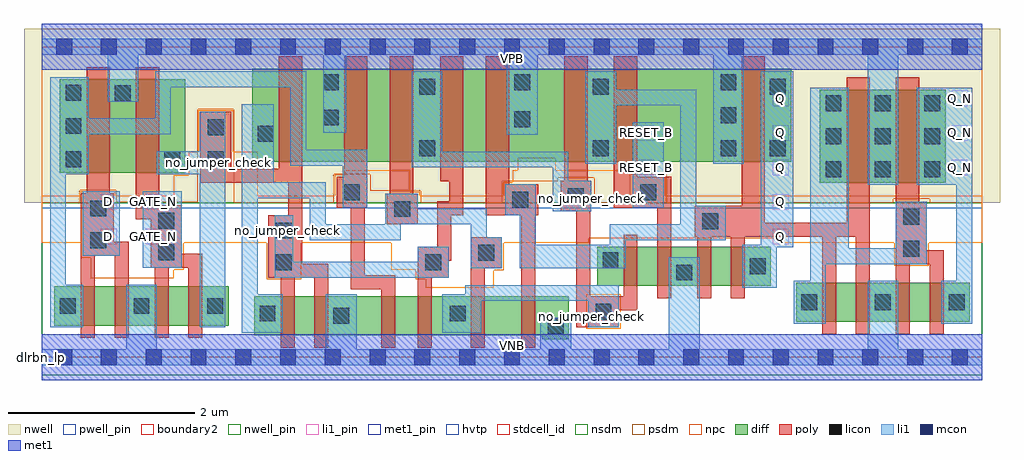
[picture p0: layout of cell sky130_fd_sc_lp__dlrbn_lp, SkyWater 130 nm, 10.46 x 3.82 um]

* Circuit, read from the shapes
.subckt sky130_fd_sc_lp__dlrbn_lp D GATE_N Q Q_N RESET_B VGND VNB VPB VPWR
XM1 n1 D n2 VNB sky130_fd_pr__nfet_01v8 w=0.42 l=0.15
XM2 VGND D n1 VNB sky130_fd_pr__nfet_01v8 w=0.42 l=0.15
XM3 n3 GATE_N VGND VNB sky130_fd_pr__nfet_01v8 w=0.42 l=0.15
XM4 n4 GATE_N n3 VNB sky130_fd_pr__nfet_01v8 w=0.42 l=0.15
XM5 n5 n4 n6 VNB sky130_fd_pr__nfet_01v8 w=0.42 l=0.15
XM6 VGND n4 n5 VNB sky130_fd_pr__nfet_01v8 w=0.42 l=0.15
XM7 n7 n2 VGND VNB sky130_fd_pr__nfet_01v8 w=0.42 l=0.15
XM8 n8 n4 n7 VNB sky130_fd_pr__nfet_01v8 w=0.42 l=0.15
XM9 n9 n6 n8 VNB sky130_fd_pr__nfet_01v8 w=0.42 l=0.15
XM10 VGND n10 n9 VNB sky130_fd_pr__nfet_01v8 w=0.42 l=0.15
XM11 n11 n8 n10 VNB sky130_fd_pr__nfet_01v8 w=0.42 l=0.15
XM12 VGND RESET_B n11 VNB sky130_fd_pr__nfet_01v8 w=0.42 l=0.15
XM13 n12 n10 VGND VNB sky130_fd_pr__nfet_01v8 w=0.42 l=0.15
XM14 Q n10 n12 VNB sky130_fd_pr__nfet_01v8 w=0.42 l=0.15
XM15 n13 n10 n14 VNB sky130_fd_pr__nfet_01v8 w=0.42 l=0.15
XM16 VGND n10 n13 VNB sky130_fd_pr__nfet_01v8 w=0.42 l=0.15
XM17 n15 n14 VGND VNB sky130_fd_pr__nfet_01v8 w=0.42 l=0.15
XM18 Q_N n14 n15 VNB sky130_fd_pr__nfet_01v8 w=0.42 l=0.15
XM19 VPWR D n2 VPB sky130_fd_pr__pfet_01v8_hvt w=1 l=0.25
XM20 n4 GATE_N VPWR VPB sky130_fd_pr__pfet_01v8_hvt w=1 l=0.25
XM21 VPWR n4 n6 VPB sky130_fd_pr__pfet_01v8_hvt w=1 l=0.25
XM22 n16 n2 VPWR VPB sky130_fd_pr__pfet_01v8_hvt w=1 l=0.25
XM23 n8 n6 n16 VPB sky130_fd_pr__pfet_01v8_hvt w=1 l=0.25
XM24 n17 n4 n8 VPB sky130_fd_pr__pfet_01v8_hvt w=1 l=0.25
XM25 VPWR n10 n17 VPB sky130_fd_pr__pfet_01v8_hvt w=1 l=0.25
XM26 n10 n8 VPWR VPB sky130_fd_pr__pfet_01v8_hvt w=1 l=0.25
XM27 VPWR RESET_B n10 VPB sky130_fd_pr__pfet_01v8_hvt w=1 l=0.25
XM28 Q n10 VPWR VPB sky130_fd_pr__pfet_01v8_hvt w=1 l=0.25
XM29 VPWR n10 n14 VPB sky130_fd_pr__pfet_01v8_hvt w=1 l=0.25
XM30 Q_N n14 VPWR VPB sky130_fd_pr__pfet_01v8_hvt w=1 l=0.25
.ends

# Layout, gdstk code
import gdstk
lib = gdstk.Library(unit=1e-6, precision=1e-09)
def R(c, l, rs):  # rectangles x0, y0, x1, y1
    for r in rs: c.add(gdstk.rectangle(r[:2], r[2:], *l))
def A(c, l, x, y, w, h, nx, ny, dx, dy):  # array of equal rectangles
    R(c, l, [(x+i*dx, y+j*dy, x+i*dx+w, y+j*dy+h) for i in range(nx) for j in range(ny)])
def P(c, l, *ps):  # polygons
    for p in ps: c.add(gdstk.Polygon(p, *l))
nwell_pin = (64, 16)
nwell = (64, 20)
diff = (65, 20)
poly = (66, 20)
licon = (66, 44)
li1_pin = (67, 16)
li1 = (67, 20)
mcon = (67, 44)
met1_pin = (68, 16)
met1 = (68, 20)
hvtp = (78, 44)
stdcell_id = (81, 4)
nsdm = (93, 44)
psdm = (94, 20)
npc = (95, 20)
pwell_pin = (122, 16)
boundary2 = (236, 0)

sky130_fd_sc_lp__dlrbn_l = lib.new_cell('sky130_fd_sc_lp__dlrbn_lp')
R(sky130_fd_sc_lp__dlrbn_l, nwell_pin, [(0,3.085,10.08,3.33)])
R(sky130_fd_sc_lp__dlrbn_l, nwell, [(-0.19,1.655,10.27,3.52)])
R(sky130_fd_sc_lp__dlrbn_l, diff, [(0.135,0.34,2.005,0.76), (8.085,0.38,9.945,0.8), (5.955,0.765,7.815,1.185), (8.34,1.87,9.69,2.87), (0.195,1.98,1.54,2.98), (2.255,2.095,8.035,3.095)])
P(sky130_fd_sc_lp__dlrbn_l, diff, [(5.65,0.655),(2.275,0.655),(2.275,0.235),(5.365,0.235),(5.365,0.195),(5.65,0.195)])
P(sky130_fd_sc_lp__dlrbn_l, poly, [(0.93,1.24),(0.77,1.24),(0.77,1.76),(0.73,1.76),(0.73,3.11),(0.48,3.11),(0.48,1.76),(0.42,1.76),(0.42,0.21),(0.57,0.21),(0.57,1.09),(0.78,1.09),(0.78,0.21),(0.93,0.21)],
  [(1.72,1.11),(1.5,1.11),(1.5,1.63),(1.26,1.63),(1.26,3.11),(1.01,3.11),(1.01,1.48),(1.17,1.48),(1.17,0.96),(1.21,0.96),(1.21,0.21),(1.36,0.21),(1.36,0.96),(1.57,0.96),(1.57,0.21),(1.72,0.21)],
  [(3.07,1.005),(2.79,1.005),(2.79,3.225),(2.54,3.225),(2.54,2.02),(2.03,2.02),(2.03,2.63),(1.7,2.63),(1.7,1.87),(2.64,1.87),(2.64,1.525),(2.43,1.525),(2.43,0.855),(2.56,0.855),(2.56,0.105),(2.71,0.105),(2.71,0.855),(2.92,0.855),(2.92,0.105),(3.07,0.105)],
  [(3.79,0.88),(3.46,0.88),(3.46,1.605),(3.49,1.605),(3.49,3.225),(3.24,3.225),(3.24,1.935),(3.16,1.935),(3.16,1.605),(3.31,1.605),(3.31,0.73),(3.64,0.73),(3.64,0.105),(3.79,0.105)],
  [(4.03,1.755),(3.98,1.755),(3.98,3.225),(3.73,3.225),(3.73,1.755),(3.7,1.755),(3.7,1.425),(4.03,1.425)],
  [(4.52,3.225),(4.27,3.225),(4.27,1.885),(4.37,1.885),(4.37,1.675),(4.24,1.675),(4.24,1.185),(4.03,1.185),(4.03,0.105),(4.18,0.105),(4.18,0.855),(4.36,0.855),(4.36,1.035),(4.39,1.035),(4.39,1.525),(4.52,1.525)],
  [(4.93,1.285),(4.6,1.285),(4.6,0.105),(4.75,0.105),(4.75,0.955),(4.93,0.955)],
  [(5.32,1.855),(5.01,1.855),(5.01,3.225),(4.76,3.225),(4.76,1.525),(5.14,1.525),(5.14,0.105),(5.29,0.105),(5.29,1.525),(5.32,1.525)],
  [(6.385,1.315),(6.235,1.315),(6.235,0.655),(5.88,0.655),(5.88,1.565),(5.89,1.565),(5.89,1.895),(5.85,1.895),(5.85,3.225),(5.6,3.225),(5.6,1.895),(5.56,1.895),(5.56,1.565),(5.73,1.565),(5.73,0.325),(6.185,0.325),(6.185,0.505),(6.385,0.505)],
  [(6.745,1.935),(6.38,1.935),(6.38,3.225),(6.13,3.225),(6.13,1.605),(6.595,1.605),(6.595,0.635),(6.745,0.635)],
  [(8.875,3),(8.625,3),(8.625,1.445),(7.75,1.445),(7.75,3.225),(7.5,3.225),(7.5,1.625),(7,1.625),(7,1.295),(7.025,1.295),(7.025,0.635),(7.175,0.635),(7.175,1.295),(7.385,1.295),(7.385,0.635),(7.535,0.635),(7.535,1.295),(8.365,1.295),(8.365,0.25),(8.515,0.25),(8.515,1.295),(8.725,1.295),(8.725,0.25),(8.875,0.25)],
  [(9.665,1.15),(9.485,1.15),(9.485,1.67),(9.405,1.67),(9.405,3),(9.155,3),(9.155,0.25),(9.305,0.25),(9.305,1),(9.515,1),(9.515,0.25),(9.665,0.25)])
A(sky130_fd_sc_lp__dlrbn_l, licon, 0.195, 0.465, 0.17, 0.17, 3, 1, 0.79, 0)
A(sky130_fd_sc_lp__dlrbn_l, licon, 8.14, 0.505, 0.17, 0.17, 3, 1, 0.79, 0)
A(sky130_fd_sc_lp__dlrbn_l, licon, 8.4, 1.93, 0.17, 0.17, 3, 3, 0.53, 0.355)
A(sky130_fd_sc_lp__dlrbn_l, licon, 0.255, 2.04, 0.17, 0.17, 1, 3, 0, 0.355)
A(sky130_fd_sc_lp__dlrbn_l, licon, 7.275, 2.155, 0.17, 0.17, 1, 3, 0, 0.355)
R(sky130_fd_sc_lp__dlrbn_l, licon, [(5.425,0.255,5.595,0.425), (3.125,0.36,3.295,0.53), (2.335,0.385,2.505,0.555), (4.375,0.385,4.545,0.555), (5.935,0.405,6.105,0.575), (6.8,0.825,6.97,0.995), (7.59,0.89,7.76,1.06), (2.51,0.935,2.68,1.105), (4.11,0.935,4.28,1.105), (6.01,0.955,6.18,1.125), (4.68,1.035,4.85,1.205), (1.25,1.04,1.42,1.21), (9.235,1.08,9.405,1.25), (0.52,1.17,0.69,1.34), (2.51,1.275,2.68,1.445), (7.08,1.375,7.25,1.545), (1.25,1.38,1.42,1.55), (9.235,1.42,9.405,1.59), (3.78,1.505,3.95,1.675), (0.52,1.51,0.69,1.68), (5.045,1.605,5.215,1.775), (5.64,1.645,5.81,1.815), (3.24,1.685,3.41,1.855), (6.415,1.685,6.585,1.855), (1.315,2.04,1.485,2.21), (1.78,2.04,1.95,2.21), (4.045,2.155,4.215,2.325), (5.905,2.155,6.075,2.325), (7.805,2.155,7.975,2.325), (2.315,2.31,2.485,2.48), (1.78,2.38,1.95,2.55), (5.065,2.465,5.235,2.635), (3.015,2.485,3.185,2.655), (0.785,2.745,0.955,2.915), (4.045,2.815,4.215,2.985), (5.905,2.815,6.075,2.985), (7.805,2.815,7.975,2.985), (3.015,2.865,3.185,3.035), (5.065,2.865,5.235,3.035)])
A(sky130_fd_sc_lp__dlrbn_l, li1_pin, 7.835, 1.21, 0.17, 0.17, 1, 5, 0, 0.37)
A(sky130_fd_sc_lp__dlrbn_l, li1_pin, 9.755, 1.95, 0.17, 0.17, 1, 3, 0, 0.37)
R(sky130_fd_sc_lp__dlrbn_l, li1_pin, [(0.635,1.21,0.805,1.38), (1.115,1.21,1.285,1.38), (0.635,1.58,0.805,1.75), (1.115,1.58,1.285,1.75), (6.395,1.95,6.565,2.12), (6.395,2.32,6.565,2.49)])
R(sky130_fd_sc_lp__dlrbn_l, li1, [(1.085,0.96,1.5,1.78), (0.44,1.09,0.835,1.78), (6.335,1.605,6.665,2.52)])
P(sky130_fd_sc_lp__dlrbn_l, li1, [(8.85,1.85),(8.85,3.245),(7.525,3.245),(7.525,2.075),(7.195,2.075),(7.195,3.245),(5.315,3.245),(5.315,2.385),(4.985,2.385),(4.985,3.245),(3.265,3.245),(3.265,2.405),(3.015,2.405),(3.015,3.245),(1.035,3.245),(1.035,2.74),(0.705,2.74),(0.705,3.245),(0,3.245),(0,3.415),(10.08,3.415),(10.08,3.245),(9.18,3.245),(9.18,1.85)],
  [(5.345,0.085),(5.345,0.425),(5.675,0.425),(5.675,0.085),(6.72,0.085),(6.72,1.075),(7.05,1.075),(7.05,0.085),(8.85,0.085),(8.85,0.82),(9.18,0.82),(9.18,0.085),(10.08,0.085),(10.08,-0.085),(0,-0.085),(0,0.085),(0.905,0.085),(0.905,0.78),(1.235,0.78),(1.235,0.085),(3.045,0.085),(3.045,0.675),(3.375,0.675),(3.375,0.085)],
  [(2.835,2.225),(3.49,2.225),(3.49,1.605),(3.225,1.605),(3.225,2.055),(2.665,2.055),(2.665,2.895),(1.385,2.895),(1.385,2.39),(0.505,2.39),(0.505,1.96),(0.26,1.96),(0.26,0.78),(0.445,0.78),(0.445,0.32),(0.09,0.32),(0.09,3),(0.505,3),(0.505,2.56),(1.215,2.56),(1.215,3.065),(2.835,3.065)],
  [(6.09,1.425),(6.845,1.425),(6.845,2.7),(6.155,2.7),(6.155,2.075),(5.825,2.075),(5.825,3.065),(6.155,3.065),(6.155,2.87),(7.015,2.87),(7.015,1.625),(7.33,1.625),(7.33,1.255),(6.26,1.255),(6.26,0.955),(5.125,0.955),(5.125,1.525),(4.965,1.525),(4.965,1.855),(5.295,1.855),(5.295,1.205),(6.09,1.205)],
  [(9.38,1.85),(9.38,2.89),(9.97,2.89),(9.97,0.36),(9.64,0.36),(9.64,0.82),(9.8,0.82),(9.8,1.85)],
  [(8.65,1.17),(9.155,1.17),(9.155,1.67),(9.485,1.67),(9.485,1),(8.405,1),(8.405,0.36),(8.06,0.36),(8.06,0.82),(8.235,0.82),(8.235,2.89),(8.65,2.89)],
  [(4.54,0.675),(4.54,0.775),(6.185,0.775),(6.185,0.325),(5.855,0.325),(5.855,0.605),(4.71,0.605),(4.71,0.265),(4.295,0.265),(4.295,0.675)],
  [(4.77,1.285),(4.93,1.285),(4.93,0.955),(4.6,0.955),(4.6,1.425),(3.85,1.425),(3.85,1.255),(2.875,1.255),(2.875,1.705),(2.315,1.705),(2.315,0.675),(2.585,0.675),(2.585,0.265),(2.145,0.265),(2.145,2.715),(2.485,2.715),(2.485,1.875),(3.045,1.875),(3.045,1.425),(3.68,1.425),(3.68,1.755),(4.03,1.755),(4.03,1.595),(4.77,1.595)],
  [(7.705,1.205),(7.705,3.065),(8.055,3.065),(8.055,1.18),(7.875,1.18),(7.875,0.745),(7.51,0.745),(7.51,1.205)],
  [(4.295,2.205),(5.645,2.205),(5.645,1.895),(5.89,1.895),(5.89,1.565),(5.475,1.565),(5.475,2.035),(3.965,2.035),(3.965,3.065),(4.295,3.065)],
  [(1.695,0.32),(1.695,1.96),(1.235,1.96),(1.235,2.21),(1.695,2.21),(1.695,2.63),(1.965,2.63),(1.965,0.32)],
  [(2.495,0.855),(2.495,1.525),(2.695,1.525),(2.695,1.025),(4.03,1.025),(4.03,1.185),(4.36,1.185),(4.36,0.855)])
A(sky130_fd_sc_lp__dlrbn_l, mcon, 0.155, -0.085, 0.17, 0.17, 21, 2, 0.48, 3.33)
R(sky130_fd_sc_lp__dlrbn_l, met1_pin, [(0,0,10.08,0.245), (0,3.085,10.08,3.33)])
R(sky130_fd_sc_lp__dlrbn_l, met1, [(0,-0.245,10.08,0.245), (0,3.085,10.08,3.575)])
R(sky130_fd_sc_lp__dlrbn_l, hvtp, [(0,1.6,10.08,3.33)])
R(sky130_fd_sc_lp__dlrbn_l, stdcell_id, [(0,0,10.08,3.33)])
R(sky130_fd_sc_lp__dlrbn_l, nsdm, [(0,-0.19,10.08,1.655)])
P(sky130_fd_sc_lp__dlrbn_l, psdm, [(10.08,3.52),(0,3.52),(0,1.655),(0.41,1.655),(0.41,1.79),(0.8,1.79),(0.8,1.66),(1.67,1.66),(1.67,2.66),(2.06,2.66),(2.06,1.655),(3.13,1.655),(3.13,1.965),(3.52,1.965),(3.52,1.785),(4.06,1.785),(4.06,1.655),(4.935,1.655),(4.935,1.885),(5.53,1.885),(5.53,1.925),(5.92,1.925),(5.92,1.655),(6.305,1.655),(6.305,1.965),(6.695,1.965),(6.695,1.655),(9.125,1.655),(9.125,1.7),(9.515,1.7),(9.515,1.655),(10.08,1.655)])
R(sky130_fd_sc_lp__dlrbn_l, npc, [(5.835,0.305,6.205,0.675)])
P(sky130_fd_sc_lp__dlrbn_l, npc, [(10.08,1.73),(6.685,1.73),(6.685,1.955),(6.58,1.955),(6.58,2.005),(5.51,2.005),(5.51,2.14),(5.1,2.14),(5.1,2.005),(5.05,2.005),(5.05,1.875),(4.945,1.875),(4.945,1.73),(4.05,1.73),(4.05,1.775),(3.945,1.775),(3.945,2.005),(3.245,2.005),(3.245,1.955),(3.14,1.955),(3.14,1.73),(2.315,1.73),(2.315,2.205),(2.05,2.205),(2.05,2.65),(1.68,2.65),(1.68,2.205),(1.575,2.205),(1.575,1.95),(1.415,1.95),(1.415,1.73),(0.79,1.73),(0.79,1.78),(0.42,1.78),(0.42,1.73),(0,1.73),(0,1.23),(0.42,1.23),(0.42,1.07),(0.525,1.07),(0.525,0.85),(1.415,0.85),(1.415,0.94),(1.52,0.94),(1.52,1.23),(2.41,1.23),(2.41,0.835),(2.78,0.835),(2.78,1.23),(3.745,1.23),(3.745,0.94),(4.01,0.94),(4.01,0.835),(4.115,0.835),(4.115,0.745),(4.845,0.745),(4.845,0.935),(4.95,0.935),(4.95,1.23),(5.865,1.23),(5.865,1.275),(7.905,1.275),(7.905,1.23),(9.135,1.23),(9.135,0.98),(9.505,0.98),(9.505,1.23),(10.08,1.23)])
R(sky130_fd_sc_lp__dlrbn_l, pwell_pin, [(0,0,10.08,0.245)])
R(sky130_fd_sc_lp__dlrbn_l, boundary2, [(0,0,10.08,3.33)])
sky130_fd_sc_lp__dlrbn_l.add(gdstk.Label('VNB', (5.04,0.123), layer=64, texttype=59))
sky130_fd_sc_lp__dlrbn_l.add(gdstk.Label('VPB', (5.04,3.208), layer=64, texttype=5))
sky130_fd_sc_lp__dlrbn_l.add(gdstk.Label('dlrbn_lp', (0,0), layer=83, texttype=44))
sky130_fd_sc_lp__dlrbn_l.add(gdstk.Label('no_jumper_check', (5.895,0.44), layer=83, texttype=44))
sky130_fd_sc_lp__dlrbn_l.add(gdstk.Label('no_jumper_check', (5.895,1.7), layer=83, texttype=44))
sky130_fd_sc_lp__dlrbn_l.add(gdstk.Label('no_jumper_check', (2.63,1.355), layer=83, texttype=44))
sky130_fd_sc_lp__dlrbn_l.add(gdstk.Label('no_jumper_check', (1.895,2.09), layer=83, texttype=44))
sky130_fd_sc_lp__dlrbn_l.add(gdstk.Label('VPWR', (5.04,3.208), layer=68, texttype=5))
sky130_fd_sc_lp__dlrbn_l.add(gdstk.Label('VGND', (5.04,0.123), layer=68, texttype=5))
sky130_fd_sc_lp__dlrbn_l.add(gdstk.Label('D', (0.72,1.295), layer=67, texttype=5))
sky130_fd_sc_lp__dlrbn_l.add(gdstk.Label('D', (0.72,1.665), layer=67, texttype=5))
sky130_fd_sc_lp__dlrbn_l.add(gdstk.Label('RESET_B', (6.48,2.035), layer=67, texttype=5))
sky130_fd_sc_lp__dlrbn_l.add(gdstk.Label('RESET_B', (6.48,2.405), layer=67, texttype=5))
sky130_fd_sc_lp__dlrbn_l.add(gdstk.Label('GATE_N', (1.2,1.295), layer=67, texttype=5))
sky130_fd_sc_lp__dlrbn_l.add(gdstk.Label('GATE_N', (1.2,1.665), layer=67, texttype=5))
sky130_fd_sc_lp__dlrbn_l.add(gdstk.Label('Q', (7.92,1.295), layer=67, texttype=5))
sky130_fd_sc_lp__dlrbn_l.add(gdstk.Label('Q', (7.92,1.665), layer=67, texttype=5))
sky130_fd_sc_lp__dlrbn_l.add(gdstk.Label('Q', (7.92,2.035), layer=67, texttype=5))
sky130_fd_sc_lp__dlrbn_l.add(gdstk.Label('Q', (7.92,2.405), layer=67, texttype=5))
sky130_fd_sc_lp__dlrbn_l.add(gdstk.Label('Q', (7.92,2.775), layer=67, texttype=5))
sky130_fd_sc_lp__dlrbn_l.add(gdstk.Label('Q_N', (9.84,2.035), layer=67, texttype=5))
sky130_fd_sc_lp__dlrbn_l.add(gdstk.Label('Q_N', (9.84,2.405), layer=67, texttype=5))
sky130_fd_sc_lp__dlrbn_l.add(gdstk.Label('Q_N', (9.84,2.775), layer=67, texttype=5))

lib.write_gds('sky130_fd_sc_lp__dlrbn_lp.gds')
